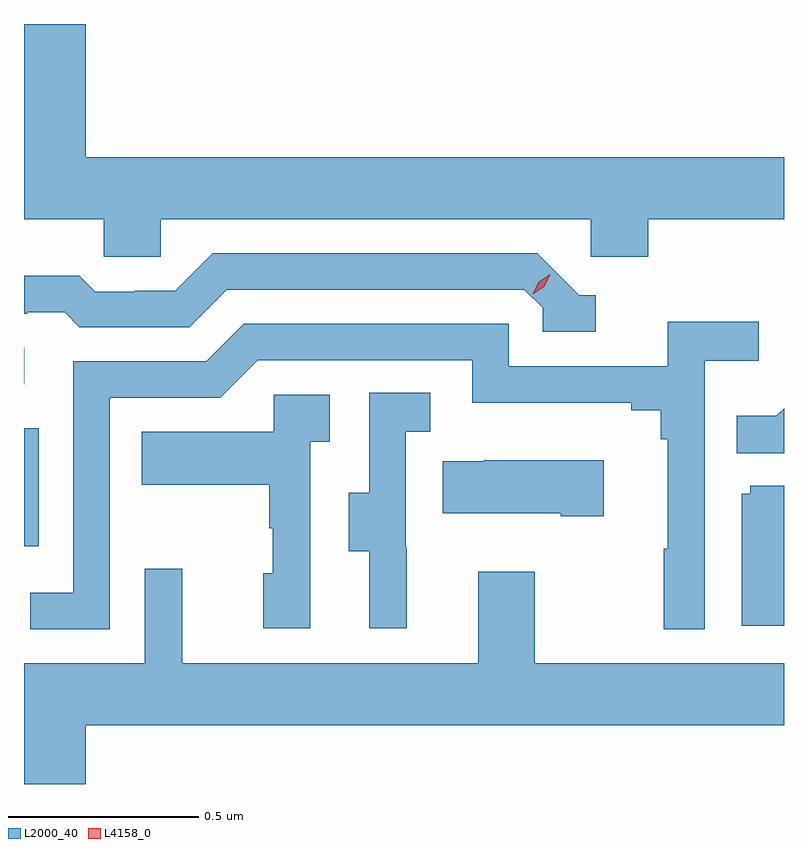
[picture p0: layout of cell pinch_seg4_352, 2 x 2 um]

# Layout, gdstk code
import gdstk
lib = gdstk.Library(unit=1e-6, precision=1e-09)
def R(c, l, rs):  # rectangles x0, y0, x1, y1
    for r in rs: c.add(gdstk.rectangle(r[:2], r[2:], *l))
def P(c, l, *ps):  # polygons
    for p in ps: c.add(gdstk.Polygon(p, *l))
L2000_40 = (2000, 40)
L4158_0 = (4158, 0)

pinch_seg4_352 = lib.new_cell('pinch_seg4_352')
R(pinch_seg4_352, L2000_40, [(1004.169,801.288,1004.208,801.598), (1004.169,801.714,1004.17,801.81)])
P(pinch_seg4_352, L2000_40, [(1004.529,802.148),(1005.66,802.148),(1005.66,802.05),(1005.812,802.05),(1005.812,802.148),(1006.169,802.148),(1006.169,802.312),(1004.332,802.312),(1004.332,802.662),(1004.169,802.662),(1004.169,802.148),(1004.379,802.148),(1004.379,802.05),(1004.529,802.05)],
  [(1005.673,801.948),(1005.63,801.948),(1005.519,802.059),(1004.666,802.059),(1004.567,801.96),(1004.46,801.96),(1004.46,801.957),(1004.357,801.957),(1004.315,802),(1004.169,802),(1004.169,801.9),(1004.177,801.9),(1004.177,801.903),(1004.276,801.903),(1004.315,801.864),(1004.604,801.864),(1004.703,801.963),(1005.486,801.963),(1005.534,801.915),(1005.534,801.852),(1005.673,801.852)],
  [(1004.394,801.678),(1004.685,801.678),(1004.784,801.777),(1005.348,801.777),(1005.348,801.665),(1005.767,801.665),(1005.767,801.646),(1005.844,801.646),(1005.844,801.569),(1005.863,801.569),(1005.863,801.281),(1005.852,801.281),(1005.852,801.069),(1005.96,801.069),(1005.96,801.776),(1006.102,801.776),(1006.102,801.878),(1005.863,801.878),(1005.863,801.762),(1005.444,801.762),(1005.444,801.873),(1004.747,801.873),(1004.648,801.774),(1004.298,801.774),(1004.298,801.165),(1004.185,801.165),(1004.185,801.069),(1004.394,801.069)],
  [(1005.176,801.285),(1005.174,801.285),(1005.174,801.589),(1005.238,801.589),(1005.238,801.692),(1005.078,801.692),(1005.078,801.429),(1005.023,801.429),(1005.023,801.274),(1005.077,801.274),(1005.077,801.072),(1005.176,801.072)],
  [(1004.922,801.563),(1004.974,801.563),(1004.974,801.687),(1004.826,801.687),(1004.826,801.589),(1004.479,801.589),(1004.479,801.449),(1004.814,801.449),(1004.814,801.335),(1004.824,801.335),(1004.824,801.216),(1004.798,801.216),(1004.798,801.072),(1004.922,801.072)],
  [(1006.169,801.651),(1006.149,801.631),(1006.045,801.631),(1006.045,801.532),(1006.169,801.532)],
  [(1005.694,801.514),(1005.379,801.514),(1005.379,801.511),(1005.271,801.511),(1005.271,801.374),(1005.581,801.374),(1005.581,801.367),(1005.694,801.367)],
  [(1006.169,801.447),(1006.08,801.447),(1006.08,801.426),(1006.058,801.426),(1006.058,801.078),(1006.169,801.078)],
  [(1004.332,800.816),(1006.169,800.816),(1006.169,800.98),(1005.513,800.98),(1005.513,801.22),(1005.365,801.22),(1005.365,800.98),(1004.585,800.98),(1004.585,801.229),(1004.487,801.229),(1004.487,800.98),(1004.169,800.98),(1004.169,800.662),(1004.332,800.662)])
P(pinch_seg4_352, L4158_0, [(1005.508,801.951),(1005.508,801.951),(1005.523,801.984),(1005.554,802.004),(1005.554,802.004),(1005.554,802.003),(1005.538,801.971),(1005.508,801.951)])

lib.write_gds('pinch_seg4_352.gds')
